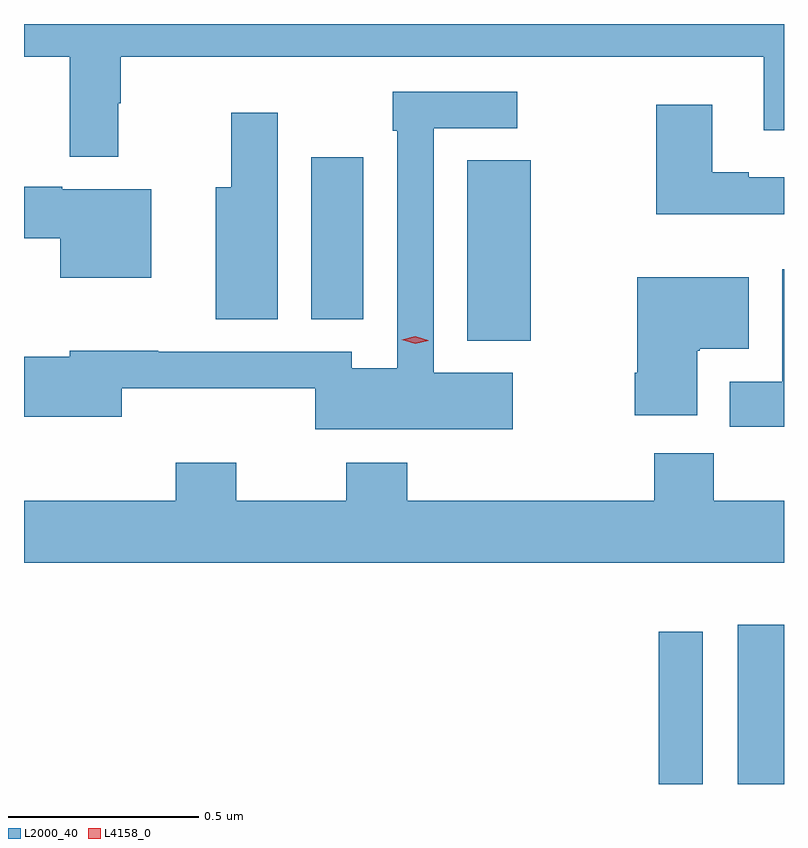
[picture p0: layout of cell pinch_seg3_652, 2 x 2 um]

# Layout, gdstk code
import gdstk
lib = gdstk.Library(unit=1e-6, precision=1e-09)
def R(c, l, rs):  # rectangles x0, y0, x1, y1
    for r in rs: c.add(gdstk.rectangle(r[:2], r[2:], *l))
def P(c, l, *ps):  # polygons
    for p in ps: c.add(gdstk.Polygon(p, *l))
L2000_40 = (2000, 40)
L4158_0 = (4158, 0)

pinch_seg3_652 = lib.new_cell('pinch_seg3_652')
R(pinch_seg3_652, L2000_40, [(1044.274,672.362,1044.39,672.763), (1044.482,672.362,1044.604,672.781), (1043.771,673.529,1043.938,674.003), (1043.36,673.585,1043.497,674.011)])
P(pinch_seg3_652, L2000_40, [(1042.852,674.153),(1042.859,674.153),(1042.859,674.276),(1044.551,674.276),(1044.551,674.082),(1044.604,674.082),(1044.604,674.362),(1042.604,674.362),(1042.604,674.276),(1042.724,674.276),(1042.724,674.013),(1042.852,674.013)],
  [(1043.89,673.444),(1043.682,673.444),(1043.682,674.088),(1043.902,674.088),(1043.902,674.184),(1043.574,674.184),(1043.574,674.081),(1043.586,674.081),(1043.586,673.456),(1043.466,673.456),(1043.466,673.5),(1042.957,673.5),(1042.957,673.502),(1042.725,673.502),(1042.725,673.486),(1042.604,673.486),(1042.604,673.328),(1042.861,673.328),(1042.861,673.403),(1043.37,673.403),(1043.37,673.295),(1043.89,673.295)],
  [(1044.604,673.959),(1044.511,673.959),(1044.511,673.972),(1044.415,673.972),(1044.415,674.149),(1044.268,674.149),(1044.268,673.862),(1044.604,673.862)],
  [(1043.272,674.128),(1043.15,674.128),(1043.15,673.933),(1043.108,673.933),(1043.108,673.585),(1043.272,673.585)],
  [(1042.939,673.927),(1042.704,673.927),(1042.704,673.934),(1042.604,673.934),(1042.604,673.798),(1042.7,673.798),(1042.7,673.694),(1042.939,673.694)],
  [(1044.604,673.717),(1044.599,673.717),(1044.599,673.42),(1044.461,673.42),(1044.461,673.302),(1044.604,673.302)],
  [(1044.376,673.502),(1044.382,673.502),(1044.382,673.508),(1044.511,673.508),(1044.511,673.696),(1044.218,673.696),(1044.218,673.444),(1044.211,673.444),(1044.211,673.332),(1044.376,673.332)],
  [(1044.604,673.108),(1044.419,673.108),(1044.419,673.232),(1044.263,673.232),(1044.263,673.108),(1043.612,673.108),(1043.612,673.207),(1043.452,673.207),(1043.452,673.108),(1043.163,673.108),(1043.163,673.207),(1043.003,673.207),(1043.003,673.108),(1042.604,673.108),(1042.604,672.944),(1044.604,672.944)])
P(pinch_seg3_652, L4158_0, [(1043.633,673.52),(1043.598,673.531),(1043.598,673.531),(1043.598,673.531),(1043.633,673.54),(1043.668,673.53),(1043.668,673.53),(1043.668,673.529)])

lib.write_gds('pinch_seg3_652.gds')
